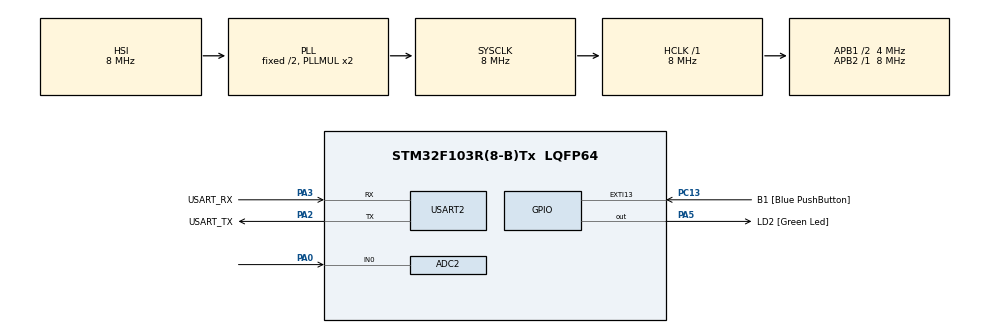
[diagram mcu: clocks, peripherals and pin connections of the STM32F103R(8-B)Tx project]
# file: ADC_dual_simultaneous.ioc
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ADC1.Channel-0\#ChannelRegularConversion=ADC_CHANNEL_TEMPSENSOR
ADC1.DataAlign=ADC_DATAALIGN_RIGHT
ADC1.Mode=ADC_DUALMODE_REGSIMULT
ADC1.NbrOfConversion=1
ADC1.NbrOfConversionFlag=1
ADC1.Rank-0\#ChannelRegularConversion=1
ADC1.SamplingTime-0\#ChannelRegularConversion=ADC_SAMPLETIME_28CYCLES_5
ADC1.master=1
ADC2.Channel-0\#ChannelRegularConversion=ADC_CHANNEL_0
ADC2.Mode=ADC_DUALMODE_REGSIMULT
ADC2.NbrOfConversionFlag=1
ADC2.Rank-0\#ChannelRegularConversion=1
ADC2.SamplingTime-0\#ChannelRegularConversion=ADC_SAMPLETIME_28CYCLES_5
Dma.ADC1.0.Direction=DMA_PERIPH_TO_MEMORY
Dma.ADC1.0.Instance=DMA1_Channel1
Dma.ADC1.0.MemDataAlignment=DMA_MDATAALIGN_WORD
Dma.ADC1.0.MemInc=DMA_MINC_ENABLE
Dma.ADC1.0.Mode=DMA_NORMAL
Dma.ADC1.0.PeriphDataAlignment=DMA_PDATAALIGN_HALFWORD
Dma.ADC1.0.PeriphInc=DMA_PINC_DISABLE
Dma.ADC1.0.Priority=DMA_PRIORITY_LOW
Dma.Request0=ADC1
Mcu.Family=STM32F1
Mcu.Name=STM32F103R(8-B)Tx
Mcu.Package=LQFP64
NVIC.ADC1_2_IRQn=true\:0\:0\:false\:false\:true\:true\:true\:true
NVIC.DMA1_Channel1_IRQn=true\:0\:0\:false\:false\:true\:false\:true\:true
NVIC.EXTI15_10_IRQn=true\:0\:0\:false\:false\:true\:true\:true\:true
NVIC.PriorityGroup=NVIC_PRIORITYGROUP_4
PA0-WKUP.Signal=ADCx_IN0
PA13.GPIO_Label=TMS
PA13.Mode=Serial_Wire
PA13.Signal=SYS_JTMS-SWDIO
PA14.GPIO_Label=TCK
PA14.Mode=Serial_Wire
PA14.Signal=SYS_JTCK-SWCLK
PA2.GPIO_Label=USART_TX
PA2.GPIO_Mode=GPIO_MODE_AF_PP
PA2.GPIO_PuPd=GPIO_NOPULL
PA2.GPIO_Speed=GPIO_SPEED_FREQ_LOW
PA2.Mode=Asynchronous
PA2.Signal=USART2_TX
PA3.GPIO_Label=USART_RX
PA3.GPIO_Mode=GPIO_MODE_AF_PP
PA3.GPIO_PuPd=GPIO_NOPULL
PA3.GPIO_Speed=GPIO_SPEED_FREQ_LOW
PA3.Mode=Asynchronous
PA3.Signal=USART2_RX
PA5.GPIO_Label=LD2 [Green Led]
PA5.GPIO_ModeDefaultOutputPP=GPIO_MODE_OUTPUT_PP
PA5.GPIO_PuPd=GPIO_NOPULL
PA5.GPIO_Speed=GPIO_SPEED_FREQ_LOW
PA5.Signal=GPIO_Output
PB3.GPIO_Label=SWO
PB3.Signal=SYS_JTDO-TRACESWO
PC13-TAMPER-RTC.GPIO_Label=B1 [Blue PushButton]
PC13-TAMPER-RTC.GPIO_PuPd=GPIO_NOPULL
PC13-TAMPER-RTC.Signal=GPXTI13
PC14-OSC32_IN.Mode=LSE-External-Oscillator
PC14-OSC32_IN.Signal=RCC_OSC32_IN
PC15-OSC32_OUT.Mode=LSE-External-Oscillator
PC15-OSC32_OUT.Signal=RCC_OSC32_OUT
PD0-OSC_IN.Mode=HSE-External-Clock-Source
PD0-OSC_IN.Signal=RCC_OSC_IN
PD1-OSC_OUT.Mode=HSE-External-Clock-Source
PD1-OSC_OUT.Signal=RCC_OSC_OUT
ProjectManager.HeapSize=0x200
ProjectManager.StackSize=0x400
ProjectManager.TargetToolchain=STM32CubeIDE
RCC.AHBFreq_Value=8000000
RCC.APB1CLKDivider=RCC_HCLK_DIV2
RCC.APB1Freq_Value=4000000
RCC.APB1TimFreq_Value=8000000
RCC.APB2Freq_Value=8000000
RCC.APB2TimFreq_Value=8000000
RCC.HCLKFreq_Value=8000000
RCC.RTCClockSelection=RCC_RTCCLKSOURCE_LSE
RCC.SYSCLKFreq_VALUE=8000000
RCC.SYSCLKSource=RCC_SYSCLKSOURCE_PLLCLK
RCC.USBFreq_Value=8000000
SH.ADCx_IN0.0=ADC2_IN0,IN0
USART2.VirtualMode=VM_ASYNC
VP_ADC1_TempSens_Input.Mode=IN-TempSens
board=NUCLEO-F103RB

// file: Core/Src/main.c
/* USER CODE BEGIN Header */
/**
  ******************************************************************************
  * @file           : main.c
  * @brief          : Main program body
  ******************************************************************************
  * @attention
  *
  * Copyright (c) 2024 STMicroelectronics.
  * All rights reserved.
  *
  * This software is licensed under terms that can be found in the LICENSE file
  * in the root directory of this software component.
  * If no LICENSE file comes with this software, it is provided AS-IS.
  *
  ******************************************************************************
  */
/* USER CODE END Header */
#include "main.h"

/* USER CODE BEGIN PD */
#define SIZE 2
/* USER CODE END PD */

ADC_HandleTypeDef hadc1;
ADC_HandleTypeDef hadc2;
DMA_HandleTypeDef hdma_adc1;

UART_HandleTypeDef huart2;

/* USER CODE BEGIN PV */
uint32_t adcBuffer[2];
/* USER CODE END PV */

void SystemClock_Config(void);
static void MX_GPIO_Init(void);
static void MX_DMA_Init(void);
static void MX_USART2_UART_Init(void);
static void MX_ADC1_Init(void);
static void MX_ADC2_Init(void);

int main(void)
{

  /* MCU Configuration--------------------------------------------------------*/

  /* Reset of all peripherals, Initializes the Flash interface and the Systick. */
  HAL_Init();

  /* Configure the system clock */
  SystemClock_Config();

  /* Initialize all configured peripherals */
  MX_GPIO_Init();
  MX_DMA_Init();
  MX_USART2_UART_Init();
  MX_ADC1_Init();
  MX_ADC2_Init();
  /* USER CODE BEGIN 2 */
  HAL_ADCEx_Calibration_Start(&hadc1);
  HAL_ADCEx_Calibration_Start(&hadc2);

  /* USER CODE END 2 */

  /* Infinite loop */
  /* USER CODE BEGIN WHILE */

  while (1)
  {
	  HAL_GPIO_TogglePin(LD2_GPIO_Port, LD2_Pin);

	  HAL_ADC_Start_IT(&hadc2); // start ADC slave first in IT (use IT callback) or simple start
	  HAL_ADCEx_MultiModeStart_DMA(&hadc1, adcBuffer, SIZE); // start master ADC, DMA1_Channel1_IRQHandler is triggered with DMA

	  HAL_Delay(1000);

    /* USER CODE END WHILE */

  }
}

void SystemClock_Config(void)
{
  RCC_OscInitTypeDef RCC_OscInitStruct = {0};
  RCC_ClkInitTypeDef RCC_ClkInitStruct = {0};
  RCC_PeriphCLKInitTypeDef PeriphClkInit = {0};

  /** Initializes the RCC Oscillators according to the specified parameters
  * in the RCC_OscInitTypeDef structure.
  */
  RCC_OscInitStruct.OscillatorType = RCC_OSCILLATORTYPE_HSI;
  RCC_OscInitStruct.HSIState = RCC_HSI_ON;
  RCC_OscInitStruct.HSICalibrationValue = RCC_HSICALIBRATION_DEFAULT;
  RCC_OscInitStruct.PLL.PLLState = RCC_PLL_ON;
  RCC_OscInitStruct.PLL.PLLSource = RCC_PLLSOURCE_HSI_DIV2;
  RCC_OscInitStruct.PLL.PLLMUL = RCC_PLL_MUL2;
  if (HAL_RCC_OscConfig(&RCC_OscInitStruct) != HAL_OK)
  {
    Error_Handler();
  }

  /** Initializes the CPU, AHB and APB buses clocks
  */
  RCC_ClkInitStruct.ClockType = RCC_CLOCKTYPE_HCLK|RCC_CLOCKTYPE_SYSCLK
                              |RCC_CLOCKTYPE_PCLK1|RCC_CLOCKTYPE_PCLK2;
  RCC_ClkInitStruct.SYSCLKSource = RCC_SYSCLKSOURCE_PLLCLK;
  RCC_ClkInitStruct.AHBCLKDivider = RCC_SYSCLK_DIV1;
  RCC_ClkInitStruct.APB1CLKDivider = RCC_HCLK_DIV2;
  RCC_ClkInitStruct.APB2CLKDivider = RCC_HCLK_DIV1;

  if (HAL_RCC_ClockConfig(&RCC_ClkInitStruct, FLASH_LATENCY_0) != HAL_OK)
  {
    Error_Handler();
  }
  PeriphClkInit.PeriphClockSelection = RCC_PERIPHCLK_ADC;
  PeriphClkInit.AdcClockSelection = RCC_ADCPCLK2_DIV2;
  if (HAL_RCCEx_PeriphCLKConfig(&PeriphClkInit) != HAL_OK)
  {
    Error_Handler();
  }
}

static void MX_ADC1_Init(void)
{

  ADC_MultiModeTypeDef multimode = {0};
  ADC_ChannelConfTypeDef sConfig = {0};

  /** Common config
  */
  hadc1.Instance = ADC1;
  hadc1.Init.ScanConvMode = ADC_SCAN_DISABLE;
  hadc1.Init.ContinuousConvMode = DISABLE;
  hadc1.Init.DiscontinuousConvMode = DISABLE;
  hadc1.Init.ExternalTrigConv = ADC_SOFTWARE_START;
  hadc1.Init.DataAlign = ADC_DATAALIGN_RIGHT;
  hadc1.Init.NbrOfConversion = 1;
  if (HAL_ADC_Init(&hadc1) != HAL_OK)
  {
    Error_Handler();
  }

  /** Configure the ADC multi-mode
  */
  multimode.Mode = ADC_DUALMODE_REGSIMULT;
  if (HAL_ADCEx_MultiModeConfigChannel(&hadc1, &multimode) != HAL_OK)
  {
    Error_Handler();
  }

  /** Configure Regular Channel
  */
  sConfig.Channel = ADC_CHANNEL_TEMPSENSOR;
  sConfig.Rank = ADC_REGULAR_RANK_1;
  sConfig.SamplingTime = ADC_SAMPLETIME_28CYCLES_5;
  if (HAL_ADC_ConfigChannel(&hadc1, &sConfig) != HAL_OK)
  {
    Error_Handler();
  }

}

static void MX_ADC2_Init(void)
{

  ADC_ChannelConfTypeDef sConfig = {0};

  /** Common config
  */
  hadc2.Instance = ADC2;
  hadc2.Init.ScanConvMode = ADC_SCAN_DISABLE;
  hadc2.Init.ContinuousConvMode = DISABLE;
  hadc2.Init.DiscontinuousConvMode = DISABLE;
  hadc2.Init.ExternalTrigConv = ADC_SOFTWARE_START;
  hadc2.Init.DataAlign = ADC_DATAALIGN_RIGHT;
  hadc2.Init.NbrOfConversion = 1;
  if (HAL_ADC_Init(&hadc2) != HAL_OK)
  {
    Error_Handler();
  }

  /** Configure Regular Channel
  */
  sConfig.Channel = ADC_CHANNEL_0;
  sConfig.Rank = ADC_REGULAR_RANK_1;
  sConfig.SamplingTime = ADC_SAMPLETIME_28CYCLES_5;
  if (HAL_ADC_ConfigChannel(&hadc2, &sConfig) != HAL_OK)
  {
    Error_Handler();
  }

}

static void MX_USART2_UART_Init(void)
{

  huart2.Instance = USART2;
  huart2.Init.BaudRate = 115200;
  huart2.Init.WordLength = UART_WORDLENGTH_8B;
  huart2.Init.StopBits = UART_STOPBITS_1;
  huart2.Init.Parity = UART_PARITY_NONE;
  huart2.Init.Mode = UART_MODE_TX_RX;
  huart2.Init.HwFlowCtl = UART_HWCONTROL_NONE;
  huart2.Init.OverSampling = UART_OVERSAMPLING_16;
  if (HAL_UART_Init(&huart2) != HAL_OK)
  {
    Error_Handler();
  }

}

static void MX_DMA_Init(void)
{

  /* DMA controller clock enable */
  __HAL_RCC_DMA1_CLK_ENABLE();

  /* DMA interrupt init */
  /* DMA1_Channel1_IRQn interrupt configuration */
  HAL_NVIC_SetPriority(DMA1_Channel1_IRQn, 0, 0);
  HAL_NVIC_EnableIRQ(DMA1_Channel1_IRQn);

}

static void MX_GPIO_Init(void)
{
  GPIO_InitTypeDef GPIO_InitStruct = {0};

  /* GPIO Ports Clock Enable */
  __HAL_RCC_GPIOC_CLK_ENABLE();
  __HAL_RCC_GPIOD_CLK_ENABLE();
  __HAL_RCC_GPIOA_CLK_ENABLE();
  __HAL_RCC_GPIOB_CLK_ENABLE();

  /*Configure GPIO pin Output Level */
  HAL_GPIO_WritePin(LD2_GPIO_Port, LD2_Pin, GPIO_PIN_RESET);

  /*Configure GPIO pin : B1_Pin */
  GPIO_InitStruct.Pin = B1_Pin;
  GPIO_InitStruct.Mode = GPIO_MODE_IT_RISING;
  GPIO_InitStruct.Pull = GPIO_NOPULL;
  HAL_GPIO_Init(B1_GPIO_Port, &GPIO_InitStruct);

  /*Configure GPIO pin : LD2_Pin */
  GPIO_InitStruct.Pin = LD2_Pin;
  GPIO_InitStruct.Mode = GPIO_MODE_OUTPUT_PP;
  GPIO_InitStruct.Pull = GPIO_NOPULL;
  GPIO_InitStruct.Speed = GPIO_SPEED_FREQ_LOW;
  HAL_GPIO_Init(LD2_GPIO_Port, &GPIO_InitStruct);

  /* EXTI interrupt init*/
  HAL_NVIC_SetPriority(EXTI15_10_IRQn, 0, 0);
  HAL_NVIC_EnableIRQ(EXTI15_10_IRQn);

}

/* USER CODE BEGIN 4 */
void HAL_ADC_ConvCpltCallback(ADC_HandleTypeDef* hadc){
	HAL_ADCEx_MultiModeStop_DMA(&hadc1); // stop dual mode master
	HAL_ADC_Stop_IT(&hadc2); // stop ADC IT slave
	uint32_t adc = HAL_ADCEx_MultiModeGetValue(&hadc1);

	uint8_t text[100] = {'\0'};
	uint16_t low = (uint16_t) adc; // low halfword is ADC2
	uint16_t high = (uint16_t) (adc>>16); // high halfword is ADC1

	sprintf(text,"> 32b DUAL_ADC = %i - high (ADC1) = %i - low (ADC2) = %i\r\n", (int) adc, (int) high, (int) low);
	HAL_UART_Transmit(&huart2, text, sizeof(text), 100);

}

/* USER CODE END 4 */

void Error_Handler(void)
{
  __disable_irq();
  while (1)
  {
  }
}
